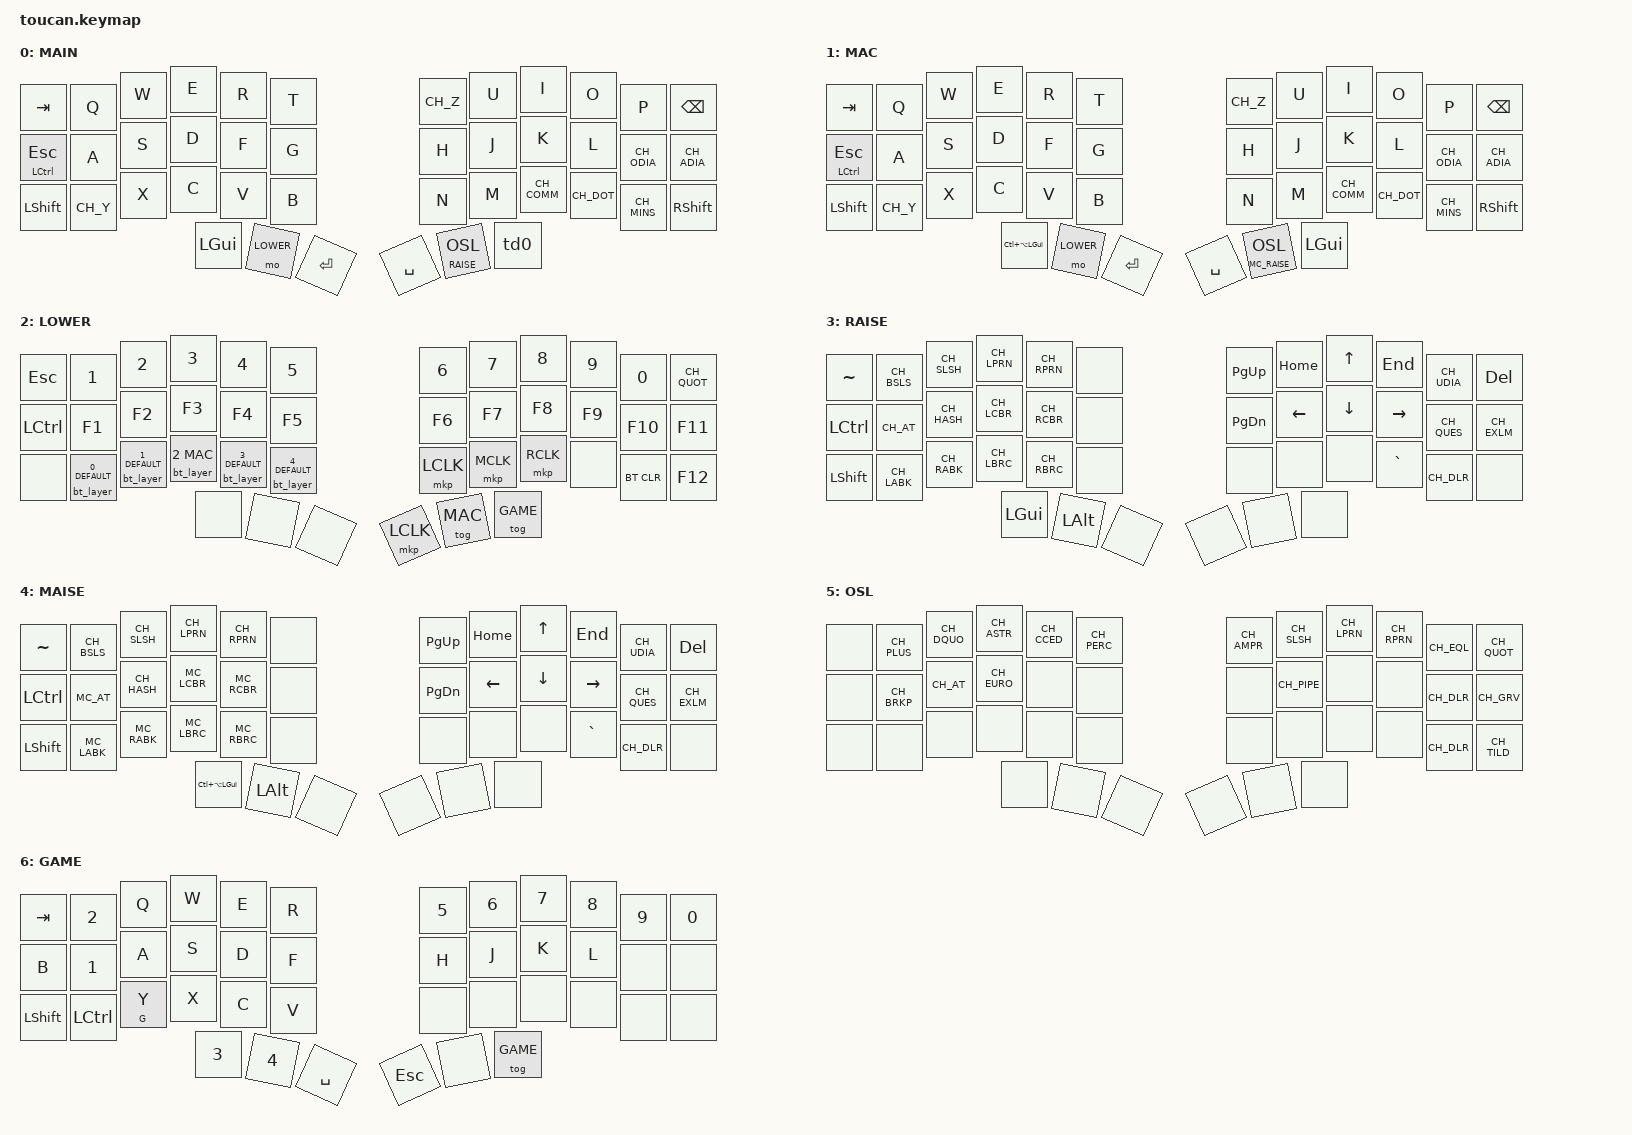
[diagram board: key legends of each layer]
#include "keymap_swiss_de.h"
#include <behaviors.dtsi>
#include <dt-bindings/zmk/keys.h>
#include <dt-bindings/zmk/bt.h>
#include <dt-bindings/zmk/outputs.h>
#include <dt-bindings/zmk/pointing.h>

#define DEFAULT 0
#define MAC   1
#define LOWER 2
#define RAISE 3
#define MC_RAISE 4
#define OSL   5
#define GAME  6
#define HYP_MAC LC(LA(LGUI))

&mt {
    tapping-term-ms = <150>;
};

/ {
        macros {
                // Parameters: Bluetooth profile (zero-based), target base layer.
                bt_layer: bt_layer {
                        compatible = "zmk,behavior-macro-two-param";
                        #binding-cells = <2>;
                        wait-ms = <0>;
                        tap-ms = <0>;
                        bindings = <&macro_param_1to2>, <&bt BT_SEL MACRO_PLACEHOLDER>,
                                   <&macro_param_2to1>, <&to MACRO_PLACEHOLDER>;
                };
        };

        behaviors {
          mo_sl: behavior_mo_sl {
              compatible = "zmk,behavior-hold-tap";
              label = "mo_sl";
              #binding-cells = <2>;
              flavor = "hold-preferred";
              tapping-term-ms = <150>;
              bindings = <&mo>, <&sl>;
          };
          kp_sl: behavior_kp_sl {
              compatible = "zmk,behavior-hold-tap";
              label = "kp_kp";
              #binding-cells = <2>;
              flavor = "hold-preferred";
              tapping-term-ms = <150>;
              bindings = <&kp>, <&sl>;
          };
          td0: td_alt_dance {
              compatible = "zmk,behavior-tap-dance";
              label = "ALTD";
              #binding-cells = <0>;
              tapping-term-ms = <150>;
              bindings = <&kp LALT>, <&kp RALT>;
          };
        };

        keymap {
                compatible = "zmk,keymap";

                default_layer {
                        display-name = "MAIN";
                        bindings = <
//,------------------------------------------------------------------------.      ,-----------------------------------------------------------------------.
  &kp TAB      &kp Q        &kp W        &kp E        &kp R        &kp T           &kp CH_Z    &kp U        &kp I      &kp O       &kp P        &kp BSPC
//|-----------+------------+------------+------------+------------+--------|      |-----------+------------+----------+-----------+------------+----------|
  &mt LCTRL ESC  &kp A        &kp S        &kp D        &kp F        &kp G           &kp H       &kp J        &kp K      &kp L       &kp CH_ODIA  &kp CH_ADIA
//|-----------+------------+------------+------------+------------+--------|      |-----------+------------+----------+-----------+------------+----------|
  &kp LSHFT    &kp CH_Y     &kp X        &kp C        &kp V        &kp B           &kp N       &kp M        &kp CH_COMM &kp CH_DOT &kp CH_MINS  &kp RSHIFT
//|-----------+------------+------------+------------+------------+--------|      |-----------+------------+----------+-----------+------------+----------|
                                         &kp LGUI     &mo LOWER    &kp RET         &kp SPACE   &mo_sl RAISE OSL &td0
                                      //`----------------------------------'      `-----------------------------------'
                        >;
                };
                MAC {
                        display-name = "MAC";
                        bindings = <
//,------------------------------------------------------------------------.      ,-----------------------------------------------------------------------.
  &kp TAB      &kp Q        &kp W        &kp E        &kp R        &kp T           &kp CH_Z    &kp U        &kp I      &kp O       &kp P        &kp BSPC
//|-----------+------------+------------+------------+------------+--------|      |-----------+------------+----------+-----------+------------+----------|
  &mt LCTRL ESC &kp A       &kp S        &kp D        &kp F        &kp G           &kp H       &kp J        &kp K      &kp L       &kp CH_ODIA  &kp CH_ADIA
//|-----------+------------+------------+------------+------------+--------|      |-----------+------------+----------+-----------+------------+----------|
  &kp LSHFT    &kp CH_Y     &kp X        &kp C        &kp V        &kp B           &kp N       &kp M        &kp CH_COMM &kp CH_DOT &kp CH_MINS  &kp RSHIFT
//|-----------+------------+------------+------------+------------+--------|      |-----------+------------+----------+-----------+------------+----------|
                                         &kp HYP_MAC  &mo LOWER    &kp RET         &kp SPACE   &mo_sl MC_RAISE OSL &kp LGUI
                                      //`----------------------------------'      `-----------------------------------'
                        >;
                };
                lower_layer {
                        display-name = "LOWER";
                        bindings = <
//,------------------------------------------------------------------------.      ,-----------------------------------------------------------------------.
  &kp ESC      &kp N1       &kp N2       &kp N3       &kp N4       &kp N5          &kp N6      &kp N7       &kp N8     &kp N9      &kp N0       &kp CH_QUOT
//|-----------+------------+------------+------------+------------+--------|      |-----------+------------+----------+-----------+------------+----------|
  &kp LCTRL    &kp F1       &kp F2       &kp F3       &kp F4       &kp F5          &kp F6      &kp F7       &kp F8     &kp F9      &kp F10      &kp F11
//|-----------+------------+------------+------------+------------+--------|      |-----------+------------+----------+-----------+------------+----------|
// Bluetooth slots 1-5: slot 3 (profile 2) uses MAC; the others use MAIN.
  &none &bt_layer 0 DEFAULT &bt_layer 1 DEFAULT &bt_layer 2 MAC &bt_layer 3 DEFAULT &bt_layer 4 DEFAULT    &mkp LCLK   &mkp MCLK    &mkp RCLK  &none       &bt BT_CLR   &kp F12
//|-----------+------------+------------+------------+------------+--------|      |-----------+------------+----------+-----------+------------+----------|
                          	             &none        &none        &none           &mkp LCLK   &tog MAC &tog GAME
                                      //`----------------------------------'      `-----------------------------------'
                        >;
                };
                raise_layer {
                        display-name = "RAISE";
                        bindings = <
//,------------------------------------------------------------------------.      ,-----------------------------------------------------------------------.
  &kp TILDE    &kp CH_BSLS  &kp CH_SLSH  &kp CH_LPRN  &kp CH_RPRN  &none           &kp PG_UP    &kp HOME     &kp UP      &kp END    &kp CH_UDIA  &kp DEL
//|-----------+------------+------------+------------+------------+--------|      |-----------+------------+----------+-----------+------------+----------|
  &kp LCTRL    &kp CH_AT    &kp CH_HASH  &kp CH_LCBR  &kp CH_RCBR  &none           &kp PG_DN    &kp LEFT     &kp DOWN    &kp RIGHT  &kp CH_QUES  &kp CH_EXLM
//|-----------+------------+------------+------------+------------+--------|      |-----------+-----------+------------+----------+------------+----------|
  &kp LSHFT    &kp CH_LABK  &kp CH_RABK  &kp CH_LBRC  &kp CH_RBRC  &none           &none        &none        &none       &kp GRAVE  &kp CH_DLR   &none
//|-----------+------------+------------+------------+------------+--------|      |-----------+------------+----------+-----------+------------+----------|
                                         &kp LGUI     &kp LALT     &none           &none        &none        &none
                                      //`----------------------------------'      `-----------------------------------'
                        >;
                };
                raise_mac {
                        display-name = "MAISE";
                        bindings = <
//,------------------------------------------------------------------------.      ,-----------------------------------------------------------------------.
  &kp TILDE    &kp CH_BSLS  &kp CH_SLSH  &kp CH_LPRN  &kp CH_RPRN  &none           &kp PG_UP    &kp HOME     &kp UP      &kp END    &kp CH_UDIA  &kp DEL
//|-----------+------------+------------+------------+------------+--------|      |-----------+------------+----------+-----------+------------+----------|
  &kp LCTRL    &kp MC_AT    &kp CH_HASH  &kp MC_LCBR  &kp MC_RCBR  &none           &kp PG_DN    &kp LEFT     &kp DOWN    &kp RIGHT  &kp CH_QUES  &kp CH_EXLM
//|-----------+------------+------------+------------+------------+--------|      |-----------+-----------+------------+----------+------------+----------|
  &kp LSHFT    &kp MC_LABK  &kp MC_RABK  &kp MC_LBRC  &kp MC_RBRC  &none           &none        &none        &none       &kp GRAVE  &kp CH_DLR   &none
//|-----------+------------+------------+------------+------------+--------|      |-----------+------------+----------+-----------+------------+----------|
                                         &kp HYP_MAC  &kp LALT     &none           &none       &none        &none
                                      //`----------------------------------'      `-----------------------------------'
                        >;
                };
                OSL {
                        display-name = "OSL";
                        bindings = <
//,------------------------------------------------------------------------.      ,-----------------------------------------------------------------------.
  &none        &kp CH_PLUS  &kp CH_DQUO  &kp CH_ASTR  &kp CH_CCED  &kp CH_PERC     &kp CH_AMPR &kp CH_SLSH  &kp CH_LPRN &kp CH_RPRN &kp CH_EQL   &kp CH_QUOT
//|-----------+------------+------------+------------+------------+--------|      |-----------+------------+----------+-----------+------------+----------|
  &none        &kp CH_BRKP  &kp CH_AT    &kp CH_EURO  &none        &none           &none       &kp CH_PIPE &none        &none       &kp CH_DLR   &kp CH_GRV
//|-----------+------------+------------+------------+------------+--------|      |-----------+------------+----------+-----------+------------+----------|
  &none        &none        &none        &none        &none        &none           &none       &none         &none      &none       &kp CH_DLR   &kp CH_TILD
//|-----------+------------+------------+------------+------------+--------|      |-----------+------------+----------+-----------+------------+----------|
                                         &none        &none        &none           &none       &none         &none
                                      //`----------------------------------'      `-----------------------------------'
                        >;
                };
                GAME {
                        display-name = "GAME";
                        bindings = <
//,------------------------------------------------------------------------.      ,-----------------------------------------------------------------------.
  &kp TAB      &kp N2       &kp Q        &kp W        &kp E        &kp R           &kp N5      &kp N6       &kp N7     &kp N8      &kp N9       &kp N0
//|-----------+------------+------------+------------+------------+--------|      |-----------+------------+----------+-----------+------------+----------|
  &kp B        &kp N1       &kp A        &kp S        &kp D        &kp F           &kp H       &kp J        &kp K      &kp L       &none        &none
//|-----------+------------+------------+------------+------------+--------|      |-----------+------------+----------+-----------+------------+----------|
  &kp LSHFT    &kp LCTRL    &mt G Y      &kp X        &kp C        &kp V           &none       &none        &none      &none       &none        &none
//|-----------+------------+------------+------------+------------+--------|      |-----------+------------+----------+-----------+------------+----------|
                                         &kp N3       &kp N4       &kp SPACE       &kp ESC     &none        &tog GAME
                                      //`----------------------------------'      `-----------------------------------'
                        >;
                };
        };
};
